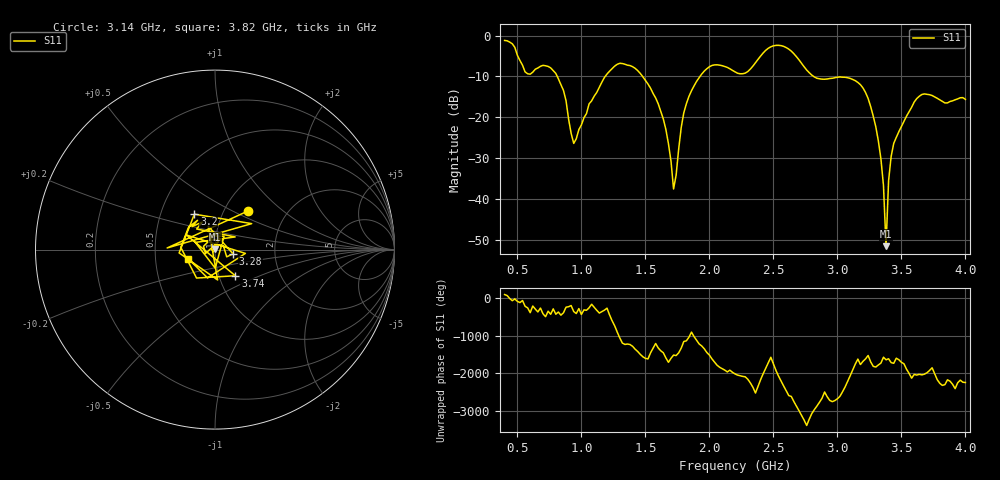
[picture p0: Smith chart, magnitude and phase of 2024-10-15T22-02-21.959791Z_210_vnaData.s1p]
! Created with skrf (http://scikit-rf.org).
# Hz S RI R 50.0
!freq ReS11 ImS11
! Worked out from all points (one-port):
!   181 points, 400 MHz to 4 GHz, reference 50 ohm
!   lowest |S11| = -51.5 dB at 3.38 GHz (marker M1), VSWR 1.01, Z = 49.7 + j0.0845 ohm
!   |S11| at or under -10 dB: 811.1 MHz to 1.186 GHz (374.8 MHz wide, 37.5 % of centre); 1.478 GHz to 1.927 GHz (448.9 MHz wide, 26.4 % of centre); 2.814 GHz to end of sweep
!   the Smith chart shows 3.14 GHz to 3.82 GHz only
!   S11 on the Smith chart (normalised r, x): 3.14 GHz: 1.29, +0.60; 3.2 GHz: 0.74, +0.31; 3.28 GHz: 1.22, -0.06; 3.74 GHz: 1.20, -0.36; 3.82 GHz: 0.74, -0.08
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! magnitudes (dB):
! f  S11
! 400 MHz  -1.2
! 560 MHz  -8.9
! 860 MHz  -13.4
! 940 MHz  -26.4
! 1.3 GHz  -6.8
! 1.6 GHz  -16.7
! 1.66 GHz  -23.0
! 1.72 GHz  -37.5
! 1.76 GHz  -27.8
! 1.82 GHz  -16.7
! 1.92 GHz  -10.3
! 2.2 GHz  -8.9
! 2.5 GHz  -2.5
! 2.66 GHz  -4.5
! 2.84 GHz  -10.5
! 3.1 GHz  -10.5
! 3.14 GHz  -11.0
! 3.2 GHz  -12.8
! 3.28 GHz  -19.7
! 3.34 GHz  -30.2
! 3.36 GHz  -36.7
! 3.38 GHz  -51.5
! 3.4 GHz  -35.5
! 3.42 GHz  -29.6
! 3.56 GHz  -18.7
! 3.74 GHz  -14.7
! 3.82 GHz  -16.1
! 4 GHz  -15.6
